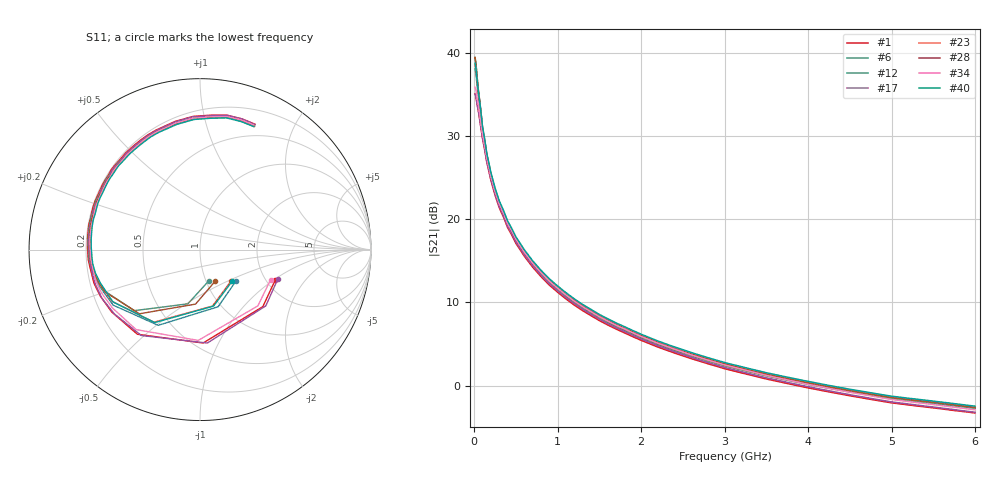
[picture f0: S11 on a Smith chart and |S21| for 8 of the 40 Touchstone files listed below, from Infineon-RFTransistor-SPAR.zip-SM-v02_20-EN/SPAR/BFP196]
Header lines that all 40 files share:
! Infineon Technologies  Discrete & RF Semiconductors
! BFP196
! Common Emitter S-Parameters:  Jan 2017
# GHz  S  MA  R  50
!  f  S11  S21  S12  S22
! GHz  MAG  ANG  MAG  ANG  MAG  ANG  MAG  ANG
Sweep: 10 MHz to 6 GHz
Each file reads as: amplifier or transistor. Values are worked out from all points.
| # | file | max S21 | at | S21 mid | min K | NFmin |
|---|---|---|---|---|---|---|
| 1 | BFP196_w_noise_VCE_5.0V_IC_25mA.s2p | 35.1 dB | 10 MHz | 4.6 dB at 2.2 GHz | 0.08 | 1.15 dB |
| 2 | BFP196_w_noise_VCE_5.0V_IC_30mA.s2p | 36.0 dB | 10 MHz | 4.8 dB at 2.2 GHz | 0.08 | 1.22 dB |
| 3 | BFP196_w_noise_VCE_5.0V_IC_35mA.s2p | 36.7 dB | 10 MHz | 4.9 dB at 2.2 GHz | 0.11 | 1.28 dB |
| 4 | BFP196_w_noise_VCE_5.0V_IC_40mA.s2p | 37.2 dB | 10 MHz | 5.0 dB at 2.2 GHz | 0.13 | 1.34 dB |
| 5 | BFP196_w_noise_VCE_5.0V_IC_45mA.s2p | 37.7 dB | 10 MHz | 5.0 dB at 2.2 GHz | 0.15 | 1.39 dB |
| 6 | BFP196_w_noise_VCE_5.0V_IC_50mA.s2p | 38.0 dB | 10 MHz | 5.0 dB at 2.2 GHz | 0.17 | 1.45 dB |
| 7 | BFP196_w_noise_VCE_5.0V_IC_60mA.s2p | 38.6 dB | 10 MHz | 5.1 dB at 2.2 GHz | 0.19 | 1.56 dB |
| 8 | BFP196_w_noise_VCE_5.0V_IC_65mA.s2p | 38.8 dB | 10 MHz | 5.0 dB at 2.2 GHz | 0.20 | 1.62 dB |
| 9 | BFP196_w_noise_VCE_5.0V_IC_70mA.s2p | 39.0 dB | 10 MHz | 5.0 dB at 2.2 GHz | 0.21 | 1.68 dB |
| 10 | BFP196_w_noise_VCE_5.0V_IC_75mA.s2p | 39.2 dB | 10 MHz | 5.0 dB at 2.2 GHz | 0.23 | 1.73 dB |
| 11 | BFP196_w_noise_VCE_5.0V_IC_80mA.s2p | 39.4 dB | 10 MHz | 5.0 dB at 2.2 GHz | 0.24 | 1.78 dB |
| 12 | BFP196_w_noise_VCE_5.0V_IC_85mA.s2p | 39.5 dB | 10 MHz | 4.9 dB at 2.2 GHz | 0.25 | 1.85 dB |
| 13 | BFP196_w_noise_VCE_5.0V_IC_90mA.s2p | 39.6 dB | 10 MHz | 4.9 dB at 2.2 GHz | 0.25 | 1.90 dB |
| 14 | BFP196_w_noise_VCE_6.0V_IC_5.0mA.s2p | 24.3 dB | 20 MHz | 1.4 dB at 2.2 GHz | -0.03 | 1.01 dB |
| 15 | BFP196_w_noise_VCE_6.0V_IC_10mA.s2p | 29.5 dB | 20 MHz | 3.4 dB at 2.2 GHz | 0.03 | 0.99 dB |
| 16 | BFP196_w_noise_VCE_6.0V_IC_20mA.s2p | 33.8 dB | 10 MHz | 4.6 dB at 2.2 GHz | 0.03 | 1.10 dB |
| 17 | BFP196_w_noise_VCE_6.0V_IC_25mA.s2p | 35.0 dB | 10 MHz | 4.8 dB at 2.2 GHz | 0.07 | 1.15 dB |
| 18 | BFP196_w_noise_VCE_6.0V_IC_30mA.s2p | 35.9 dB | 10 MHz | 5.0 dB at 2.2 GHz | 0.09 | 1.22 dB |
| 19 | BFP196_w_noise_VCE_6.0V_IC_35mA.s2p | 36.6 dB | 10 MHz | 5.1 dB at 2.2 GHz | 0.11 | 1.28 dB |
| 20 | BFP196_w_noise_VCE_6.0V_IC_40mA.s2p | 37.2 dB | 10 MHz | 5.1 dB at 2.2 GHz | 0.13 | 1.34 dB |
| 21 | BFP196_w_noise_VCE_6.0V_IC_45mA.s2p | 37.6 dB | 10 MHz | 5.2 dB at 2.2 GHz | 0.14 | 1.39 dB |
| 22 | BFP196_w_noise_VCE_6.0V_IC_50mA.s2p | 38.0 dB | 10 MHz | 5.2 dB at 2.2 GHz | 0.17 | 1.45 dB |
| 23 | BFP196_w_noise_VCE_6.0V_IC_60mA.s2p | 38.6 dB | 10 MHz | 5.2 dB at 2.2 GHz | 0.18 | 1.56 dB |
| 24 | BFP196_w_noise_VCE_6.0V_IC_65mA.s2p | 38.8 dB | 10 MHz | 5.2 dB at 2.2 GHz | 0.19 | 1.62 dB |
| 25 | BFP196_w_noise_VCE_6.0V_IC_70mA.s2p | 39.0 dB | 10 MHz | 5.2 dB at 2.2 GHz | 0.20 | 1.68 dB |
| 26 | BFP196_w_noise_VCE_6.0V_IC_75mA.s2p | 39.2 dB | 10 MHz | 5.2 dB at 2.2 GHz | 0.22 | 1.73 dB |
| 27 | BFP196_w_noise_VCE_6.0V_IC_80mA.s2p | 39.3 dB | 10 MHz | 5.2 dB at 2.2 GHz | 0.23 | 1.78 dB |
| 28 | BFP196_w_noise_VCE_6.0V_IC_85mA.s2p | 39.4 dB | 10 MHz | 5.1 dB at 2.2 GHz | 0.24 | 1.85 dB |
| 29 | BFP196_w_noise_VCE_6.0V_IC_90mA.s2p | 39.5 dB | 10 MHz | 5.1 dB at 2.2 GHz | 0.25 | 1.90 dB |
| 30 | BFP196_w_noise_VCE_7.0V_IC_5.0mA.s2p | 24.2 dB | 20 MHz | 1.5 dB at 2.2 GHz | -0.04 | 1.01 dB |
| 31 | BFP196_w_noise_VCE_7.0V_IC_10mA.s2p | 29.5 dB | 20 MHz | 3.5 dB at 2.2 GHz | -0.02 | 0.99 dB |
| 32 | BFP196_w_noise_VCE_7.0V_IC_20mA.s2p | 33.8 dB | 10 MHz | 4.7 dB at 2.2 GHz | 0.04 | 1.10 dB |
| 33 | BFP196_w_noise_VCE_7.0V_IC_25mA.s2p | 35.0 dB | 10 MHz | 4.9 dB at 2.2 GHz | 0.06 | 1.15 dB |
| 34 | BFP196_w_noise_VCE_7.0V_IC_30mA.s2p | 35.9 dB | 10 MHz | 5.1 dB at 2.2 GHz | 0.11 | 1.22 dB |
| 35 | BFP196_w_noise_VCE_7.0V_IC_35mA.s2p | 36.5 dB | 10 MHz | 5.2 dB at 2.2 GHz | 0.12 | 1.28 dB |
| 36 | BFP196_w_noise_VCE_7.0V_IC_40mA.s2p | 37.1 dB | 10 MHz | 5.3 dB at 2.2 GHz | 0.12 | 1.34 dB |
| 37 | BFP196_w_noise_VCE_7.0V_IC_45mA.s2p | 37.6 dB | 10 MHz | 5.3 dB at 2.2 GHz | 0.13 | 1.39 dB |
| 38 | BFP196_w_noise_VCE_7.0V_IC_50mA.s2p | 37.9 dB | 10 MHz | 5.3 dB at 2.2 GHz | 0.14 | 1.45 dB |
| 39 | BFP196_w_noise_VCE_7.0V_IC_60mA.s2p | 38.5 dB | 10 MHz | 5.4 dB at 2.2 GHz | 0.18 | 1.56 dB |
| 40 | BFP196_w_noise_VCE_7.0V_IC_65mA.s2p | 38.7 dB | 10 MHz | 5.4 dB at 2.2 GHz | 0.18 | 1.62 dB |

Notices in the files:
Hoja de datos/BFP 450/Infineon-RFTransistor-SPAR.zip-SM-v02_20-EN/SPAR/BFP196/BFP196_w_noise_VCE_5.0V_IC_25mA.s2p:
(c) 2017  Infineon Technologies AG, Munich
